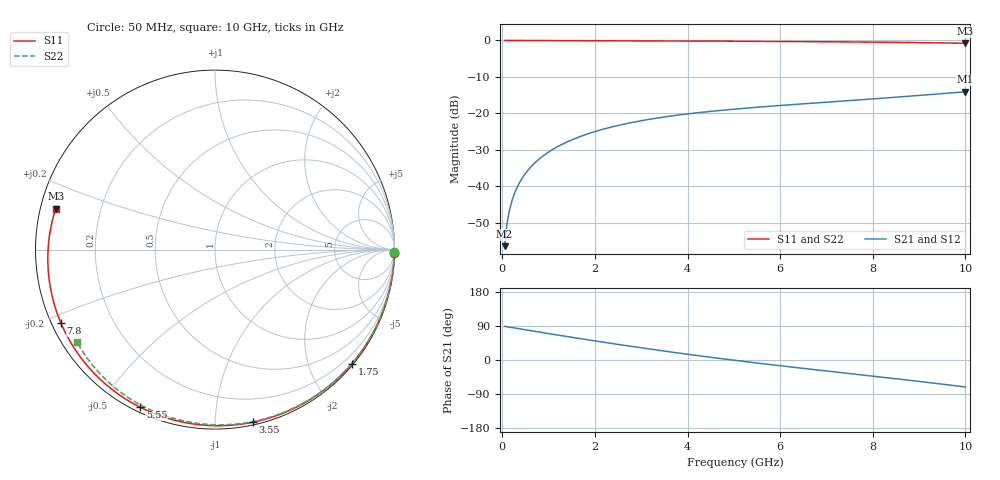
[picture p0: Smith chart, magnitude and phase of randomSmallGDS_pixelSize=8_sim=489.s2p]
! freq	dB(S11)	phase(S11)	dB(S12)	phase(S12)
!  dB(S21)	phase(S21)	dB(S22)	phase(S22)
!S-par simulation data
#  GHz  S  DB  R 50
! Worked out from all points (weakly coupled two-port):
!   200 points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, 50 MHz to 10 GHz, reference 50 ohm
!   highest |S21| = -14.10 dB at 10 GHz (marker M1); lowest = -56.5 dB at 50 MHz (marker M2)
!   lowest |S11| = -0.8 dB at 10 GHz (marker M3), VSWR 22.88, Z = 2.22 + j6.32 ohm
!   |S11| at or under -10 dB: nowhere
!   |S22| runs from -0.7 to 0.0 dB; largest |S21 - S12| = 0
!   S11 on the Smith chart (normalised r, x): 50 MHz: 0, -98; 1.75 GHz: 0.03, -2.76; 3.55 GHz: 0.02, -1.24; 5.55 GHz: 0.02, -0.63; 7.8 GHz: 0.03, -0.23; 10 GHz: 0.04, +0.13
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0.05  -0.00 -1.2  -56.50 88.8  -56.50 88.8  -0.00 -0.9
0.1  -0.00 -2.3  -50.46 87.7  -50.46 87.7  -0.00 -1.7
0.15  -0.00 -3.5  -46.91 86.7  -46.91 86.7  -0.00 -2.6
0.2  -0.01 -4.7  -44.41 85.8  -44.41 85.8  -0.00 -3.4
0.25  -0.01 -5.8  -42.48 84.8  -42.48 84.8  -0.01 -4.3
0.35  -0.01 -8.1  -39.59 82.8  -39.59 82.8  -0.01 -6.0
0.5  -0.02 -11.6  -36.53 79.7  -36.53 79.7  -0.01 -8.6
0.7  -0.02 -16.2  -33.66 75.7  -33.66 75.7  -0.02 -12.0
1  -0.03 -23.0  -30.65 69.7  -30.65 69.7  -0.03 -17.1
1.35  -0.05 -31.0  -28.16 62.8  -28.16 62.8  -0.04 -22.9
1.75  -0.06 -39.9  -26.07 55.1  -26.07 55.1  -0.05 -29.6
2.6  -0.09 -58.2  -23.06 39.3  -23.06 39.3  -0.08 -43.4
3.4  -0.13 -74.7  -21.20 25.2  -21.20 25.2  -0.11 -56.1
3.55  -0.14 -77.7  -20.92 22.6  -20.92 22.6  -0.11 -58.4
4.3  -0.17 -92.3  -19.74 10.3  -19.74 10.3  -0.14 -69.7
5.05  -0.21 -106.3  -18.82 -1.3  -18.82 -1.3  -0.18 -80.7
5.55  -0.24 -115.3  -18.29 -8.7  -18.29 -8.7  -0.20 -87.8
6.7  -0.33 -135.5  -17.22 -24.9  -17.22 -24.9  -0.28 -103.5
7.8  -0.44 -154.5  -16.24 -39.9  -16.24 -39.9  -0.37 -118.0
8.35  -0.50 -164.2  -15.73 -47.4  -15.73 -47.4  -0.43 -125.1
9.2  -0.62 -179.4  -14.90 -59.3  -14.90 -59.3  -0.55 -136.0
10  -0.76 165.6  -14.10 -71.2  -14.10 -71.2  -0.68 -146.2
